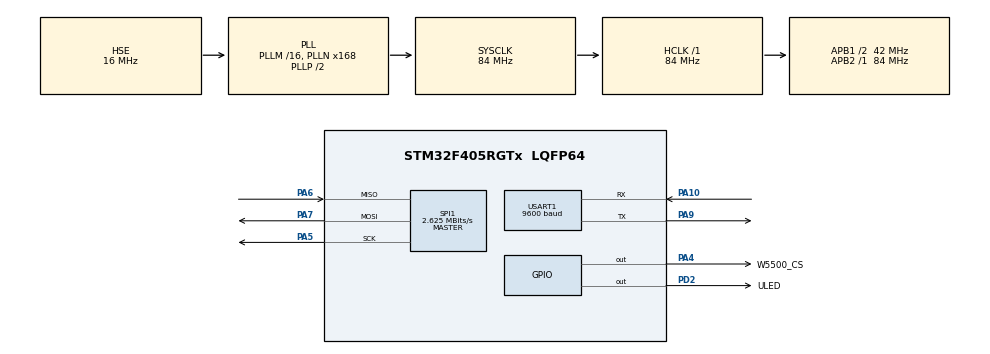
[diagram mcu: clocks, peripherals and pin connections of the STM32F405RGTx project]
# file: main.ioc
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Mcu.Family=STM32F4
Mcu.Name=STM32F405RGTx
Mcu.Package=LQFP64
NVIC.PriorityGroup=NVIC_PRIORITYGROUP_4
PA10.Mode=Asynchronous
PA10.Signal=USART1_RX
PA13.Mode=Serial_Wire
PA13.Signal=SYS_JTMS-SWDIO
PA14.Mode=Serial_Wire
PA14.Signal=SYS_JTCK-SWCLK
PA4.GPIO_Label=W5500_CS
PA4.Signal=GPIO_Output
PA5.Mode=Full_Duplex_Master
PA5.Signal=SPI1_SCK
PA6.Mode=Full_Duplex_Master
PA6.Signal=SPI1_MISO
PA7.Mode=Full_Duplex_Master
PA7.Signal=SPI1_MOSI
PA9.Mode=Asynchronous
PA9.Signal=USART1_TX
PB8.Signal=I2C1_SCL
PB9.Signal=I2C1_SDA
PC14-OSC32_IN.Mode=LSE-External-Oscillator
PC14-OSC32_IN.Signal=RCC_OSC32_IN
PC15-OSC32_OUT.Mode=LSE-External-Oscillator
PC15-OSC32_OUT.Signal=RCC_OSC32_OUT
PD2.GPIO_Label=ULED
PD2.Signal=GPIO_Output
PH0-OSC_IN.Mode=HSE-External-Oscillator
PH0-OSC_IN.Signal=RCC_OSC_IN
PH1-OSC_OUT.Mode=HSE-External-Oscillator
PH1-OSC_OUT.Signal=RCC_OSC_OUT
ProjectManager.HeapSize=0x200
ProjectManager.StackSize=0x400
ProjectManager.TargetToolchain=Makefile
RCC.48MHZClocksFreq_Value=42000000
RCC.AHBFreq_Value=84000000
RCC.APB1CLKDivider=RCC_HCLK_DIV2
RCC.APB1Freq_Value=42000000
RCC.APB1TimFreq_Value=84000000
RCC.APB2Freq_Value=84000000
RCC.APB2TimFreq_Value=84000000
RCC.CortexFreq_Value=84000000
RCC.HCLKFreq_Value=84000000
RCC.HSE_VALUE=16000000
RCC.HSI_VALUE=16000000
RCC.PLLN=168
RCC.PLLSourceVirtual=RCC_PLLSOURCE_HSE
RCC.RCC_RTC_Clock_SourceVirtual=RCC_RTCCLKSOURCE_LSE
RCC.SYSCLKFreq_VALUE=84000000
RCC.SYSCLKSource=RCC_SYSCLKSOURCE_PLLCLK
RCC.VCOOutputFreq_Value=168000000
SPI1.BaudRatePrescaler=SPI_BAUDRATEPRESCALER_32
SPI1.CalculateBaudRate=2.625 MBits/s
SPI1.Direction=SPI_DIRECTION_2LINES
SPI1.Mode=SPI_MODE_MASTER
SPI1.VirtualType=VM_MASTER
USART1.BaudRate=9600
USART1.VirtualMode=VM_ASYNC
board=main

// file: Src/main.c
#include "main.h"
#include "stm32f4xx_hal.h"

/* USER CODE BEGIN Includes */
/* vim: set ai et ts=4 sw=4: */
#include <string.h>
#include <stdarg.h>
#include <stdbool.h>
#include <ctype.h>
#include "socket.h"
#include "dhcp.h"
#include "dns.h"

/* USER CODE END Includes */

SPI_HandleTypeDef hspi1;

UART_HandleTypeDef huart1;

/* USER CODE BEGIN PV */
/* Private variables ---------------------------------------------------------*/

/* USER CODE END PV */

void SystemClock_Config(void);
static void MX_GPIO_Init(void);
static void MX_USART1_UART_Init(void);
static void MX_SPI1_Init(void);

/* USER CODE BEGIN PFP */
/* Private function prototypes -----------------------------------------------*/

/* USER CODE END PFP */

/* USER CODE BEGIN 0 */

#define DHCP_SOCKET     0
#define DNS_SOCKET      1
#define HTTP_SOCKET     2

void UART_Printf(const char* fmt, ...) {
    char buff[256];
    va_list args;
    va_start(args, fmt);
    vsnprintf(buff, sizeof(buff), fmt, args);
    HAL_UART_Transmit(&huart1, (uint8_t*)buff, strlen(buff),
                      HAL_MAX_DELAY);
    va_end(args);
}

void W5500_Select(void) {
    HAL_GPIO_WritePin(W5500_CS_GPIO_Port, W5500_CS_Pin, GPIO_PIN_RESET);
}

void W5500_Unselect(void) {
    HAL_GPIO_WritePin(W5500_CS_GPIO_Port, W5500_CS_Pin, GPIO_PIN_SET);
}

void W5500_ReadBuff(uint8_t* buff, uint16_t len) {
    HAL_SPI_Receive(&hspi1, buff, len, HAL_MAX_DELAY);
}

void W5500_WriteBuff(uint8_t* buff, uint16_t len) {
    HAL_SPI_Transmit(&hspi1, buff, len, HAL_MAX_DELAY);
}

uint8_t W5500_ReadByte(void) {
    uint8_t byte;
    W5500_ReadBuff(&byte, sizeof(byte));
    return byte;
}

void W5500_WriteByte(uint8_t byte) {
    W5500_WriteBuff(&byte, sizeof(byte));
}

volatile bool ip_assigned = false;

void Callback_IPAssigned(void) {
    UART_Printf("Callback: IP assigned! Leased time: %d sec\r\n", getDHCPLeasetime());
    ip_assigned = true;
}

void Callback_IPConflict(void) {
    UART_Printf("Callback: IP conflict!\r\n");
}

// 1K should be enough, see https://forum.wiznet.io/t/topic/1612/2
uint8_t dhcp_buffer[1024];
// 1K seems to be enough for this buffer as well
uint8_t dns_buffer[1024];

void init() {
    UART_Printf("\r\ninit() called!\r\n");

    UART_Printf("Registering W5500 callbacks...\r\n");
    reg_wizchip_cs_cbfunc(W5500_Select, W5500_Unselect);
    reg_wizchip_spi_cbfunc(W5500_ReadByte, W5500_WriteByte);
    reg_wizchip_spiburst_cbfunc(W5500_ReadBuff, W5500_WriteBuff);

    UART_Printf("Calling wizchip_init()...\r\n");
    uint8_t rx_tx_buff_sizes[] = {2, 2, 2, 2, 2, 2, 2, 2};
    wizchip_init(rx_tx_buff_sizes, rx_tx_buff_sizes);

    UART_Printf("Calling DHCP_init()...\r\n");
    wiz_NetInfo net_info = {
        .mac  = { 0xEA, 0x11, 0x22, 0x33, 0x44, 0xEA },
        .dhcp = NETINFO_DHCP
    };
    // set MAC address before using DHCP
    setSHAR(net_info.mac);
    DHCP_init(DHCP_SOCKET, dhcp_buffer);

    UART_Printf("Registering DHCP callbacks...\r\n");
    reg_dhcp_cbfunc(
        Callback_IPAssigned,
        Callback_IPAssigned,
        Callback_IPConflict
    );

    UART_Printf("Calling DHCP_run()...\r\n");
    // actually should be called in a loop, e.g. by timer
    uint32_t ctr = 10000;
    while((!ip_assigned) && (ctr > 0)) {
        DHCP_run();
        ctr--;
    }
    if(!ip_assigned) {
        UART_Printf("\r\nIP was not assigned :(\r\n");
        return;
    }

    getIPfromDHCP(net_info.ip);
    getGWfromDHCP(net_info.gw);
    getSNfromDHCP(net_info.sn);

    uint8_t dns[4];
    getDNSfromDHCP(dns);

    UART_Printf("IP:  %d.%d.%d.%d\r\nGW:  %d.%d.%d.%d\r\nNet: %d.%d.%d.%d\r\nDNS: %d.%d.%d.%d\r\n",
        net_info.ip[0], net_info.ip[1], net_info.ip[2], net_info.ip[3],
        net_info.gw[0], net_info.gw[1], net_info.gw[2], net_info.gw[3],
        net_info.sn[0], net_info.sn[1], net_info.sn[2], net_info.sn[3],
        dns[0], dns[1], dns[2], dns[3]
    );

    UART_Printf("Calling wizchip_setnetinfo()...\r\n");
    wizchip_setnetinfo(&net_info);

    UART_Printf("Calling DNS_init()...\r\n");
    DNS_init(DNS_SOCKET, dns_buffer);

    uint8_t addr[4];
    {
        char domain_name[] = "eax.me";
        UART_Printf("Resolving domain name \"%s\"...\r\n", domain_name);
        int8_t res = DNS_run(dns, (uint8_t*)&domain_name, addr);
        if(res != 1) {
            UART_Printf("DNS_run() failed, res = %d", res);
            return;
        }
        UART_Printf("Result: %d.%d.%d.%d\r\n", addr[0], addr[1], addr[2], addr[3]);
    }

    UART_Printf("Creating socket...\r\n");
    uint8_t http_socket = HTTP_SOCKET;
    uint8_t code = socket(http_socket, Sn_MR_TCP, 10888, 0);
    if(code != http_socket) {
        UART_Printf("socket() failed, code = %d\r\n", code);
        return;
    }

    UART_Printf("Socket created, connecting...\r\n");
    code = connect(http_socket, addr, 80);
    if(code != SOCK_OK) {
        UART_Printf("connect() failed, code = %d\r\n", code);
        close(http_socket);
        return;
    }

    UART_Printf("Connected, sending HTTP request...\r\n");
    {
        char req[] = "GET / HTTP/1.0\r\nHost: eax.me\r\n\r\n";
        uint16_t len = sizeof(req) - 1;
        uint8_t* buff = (uint8_t*)&req;
        while(len > 0) {
            UART_Printf("Sending %d bytes...\r\n", len);
            int32_t nbytes = send(http_socket, buff, len);
            if(nbytes <= 0) {
                UART_Printf("send() failed, %d returned\r\n", nbytes);
                close(http_socket);
                return;
            }
            UART_Printf("%d bytes sent!\r\n", nbytes);
            len -= nbytes;
        }
    }

    UART_Printf("Request sent. Reading response...\r\n");
    {
        char buff[32];
        for(;;) {
            int32_t nbytes = recv(http_socket, (uint8_t*)&buff, sizeof(buff)-1);
            if(nbytes == SOCKERR_SOCKSTATUS) {
                UART_Printf("\r\nConnection closed.\r\n");
                break;
            }

            if(nbytes <= 0) {
                UART_Printf("\r\nrecv() failed, %d returned\r\n", nbytes);
                break;
            }

            buff[nbytes] = '\0';
            UART_Printf("%s", buff);
        }
    }

    UART_Printf("Closing socket.\r\n");
    close(http_socket);
}

void loop() {
    HAL_Delay(1000);
}

/* USER CODE END 0 */

int main(void)
{

  /* MCU Configuration----------------------------------------------------------*/

  /* Reset of all peripherals, Initializes the Flash interface and the Systick. */
  HAL_Init();

  /* Configure the system clock */
  SystemClock_Config();

  /* Initialize all configured peripherals */
  MX_GPIO_Init();
  MX_USART1_UART_Init();
  MX_SPI1_Init();

  /* Infinite loop */
  /* USER CODE BEGIN WHILE */
  init();
  while (1)
  {
    loop();
  /* USER CODE END WHILE */

  }

}

/** System Clock Configuration
*/
void SystemClock_Config(void)
{

  RCC_OscInitTypeDef RCC_OscInitStruct;
  RCC_ClkInitTypeDef RCC_ClkInitStruct;

    /**Configure the main internal regulator output voltage
    */
  __HAL_RCC_PWR_CLK_ENABLE();

  __HAL_PWR_VOLTAGESCALING_CONFIG(PWR_REGULATOR_VOLTAGE_SCALE1);

    /**Initializes the CPU, AHB and APB busses clocks
    */
  RCC_OscInitStruct.OscillatorType = RCC_OSCILLATORTYPE_HSE;
  RCC_OscInitStruct.HSEState = RCC_HSE_ON;
  RCC_OscInitStruct.PLL.PLLState = RCC_PLL_ON;
  RCC_OscInitStruct.PLL.PLLSource = RCC_PLLSOURCE_HSE;
  RCC_OscInitStruct.PLL.PLLM = 16;
  RCC_OscInitStruct.PLL.PLLN = 168;
  RCC_OscInitStruct.PLL.PLLP = RCC_PLLP_DIV2;
  RCC_OscInitStruct.PLL.PLLQ = 4;
  if (HAL_RCC_OscConfig(&RCC_OscInitStruct) != HAL_OK)
  {
    _Error_Handler(__FILE__, __LINE__);
  }

    /**Initializes the CPU, AHB and APB busses clocks
    */
  RCC_ClkInitStruct.ClockType = RCC_CLOCKTYPE_HCLK|RCC_CLOCKTYPE_SYSCLK
                              |RCC_CLOCKTYPE_PCLK1|RCC_CLOCKTYPE_PCLK2;
  RCC_ClkInitStruct.SYSCLKSource = RCC_SYSCLKSOURCE_PLLCLK;
  RCC_ClkInitStruct.AHBCLKDivider = RCC_SYSCLK_DIV1;
  RCC_ClkInitStruct.APB1CLKDivider = RCC_HCLK_DIV2;
  RCC_ClkInitStruct.APB2CLKDivider = RCC_HCLK_DIV1;

  if (HAL_RCC_ClockConfig(&RCC_ClkInitStruct, FLASH_LATENCY_2) != HAL_OK)
  {
    _Error_Handler(__FILE__, __LINE__);
  }

    /**Configure the Systick interrupt time
    */
  HAL_SYSTICK_Config(HAL_RCC_GetHCLKFreq()/1000);

    /**Configure the Systick
    */
  HAL_SYSTICK_CLKSourceConfig(SYSTICK_CLKSOURCE_HCLK);

  /* SysTick_IRQn interrupt configuration */
  HAL_NVIC_SetPriority(SysTick_IRQn, 0, 0);
}

/* SPI1 init function */
static void MX_SPI1_Init(void)
{

  /* SPI1 parameter configuration*/
  hspi1.Instance = SPI1;
  hspi1.Init.Mode = SPI_MODE_MASTER;
  hspi1.Init.Direction = SPI_DIRECTION_2LINES;
  hspi1.Init.DataSize = SPI_DATASIZE_8BIT;
  hspi1.Init.CLKPolarity = SPI_POLARITY_LOW;
  hspi1.Init.CLKPhase = SPI_PHASE_1EDGE;
  hspi1.Init.NSS = SPI_NSS_SOFT;
  hspi1.Init.BaudRatePrescaler = SPI_BAUDRATEPRESCALER_32;
  hspi1.Init.FirstBit = SPI_FIRSTBIT_MSB;
  hspi1.Init.TIMode = SPI_TIMODE_DISABLE;
  hspi1.Init.CRCCalculation = SPI_CRCCALCULATION_DISABLE;
  hspi1.Init.CRCPolynomial = 10;
  if (HAL_SPI_Init(&hspi1) != HAL_OK)
  {
    _Error_Handler(__FILE__, __LINE__);
  }

}

/* USART1 init function */
static void MX_USART1_UART_Init(void)
{

  huart1.Instance = USART1;
  huart1.Init.BaudRate = 9600;
  huart1.Init.WordLength = UART_WORDLENGTH_8B;
  huart1.Init.StopBits = UART_STOPBITS_1;
  huart1.Init.Parity = UART_PARITY_NONE;
  huart1.Init.Mode = UART_MODE_TX_RX;
  huart1.Init.HwFlowCtl = UART_HWCONTROL_NONE;
  huart1.Init.OverSampling = UART_OVERSAMPLING_16;
  if (HAL_UART_Init(&huart1) != HAL_OK)
  {
    _Error_Handler(__FILE__, __LINE__);
  }

}

/** Configure pins as
        * Analog
        * Input
        * Output
        * EVENT_OUT
        * EXTI
     PB8   ------> I2C1_SCL
     PB9   ------> I2C1_SDA
*/
static void MX_GPIO_Init(void)
{

  GPIO_InitTypeDef GPIO_InitStruct;

  /* GPIO Ports Clock Enable */
  __HAL_RCC_GPIOC_CLK_ENABLE();
  __HAL_RCC_GPIOH_CLK_ENABLE();
  __HAL_RCC_GPIOA_CLK_ENABLE();
  __HAL_RCC_GPIOD_CLK_ENABLE();
  __HAL_RCC_GPIOB_CLK_ENABLE();

  /*Configure GPIO pin Output Level */
  HAL_GPIO_WritePin(W5500_CS_GPIO_Port, W5500_CS_Pin, GPIO_PIN_RESET);

  /*Configure GPIO pin Output Level */
  HAL_GPIO_WritePin(ULED_GPIO_Port, ULED_Pin, GPIO_PIN_RESET);

  /*Configure GPIO pin : W5500_CS_Pin */
  GPIO_InitStruct.Pin = W5500_CS_Pin;
  GPIO_InitStruct.Mode = GPIO_MODE_OUTPUT_PP;
  GPIO_InitStruct.Pull = GPIO_NOPULL;
  GPIO_InitStruct.Speed = GPIO_SPEED_FREQ_LOW;
  HAL_GPIO_Init(W5500_CS_GPIO_Port, &GPIO_InitStruct);

  /*Configure GPIO pin : ULED_Pin */
  GPIO_InitStruct.Pin = ULED_Pin;
  GPIO_InitStruct.Mode = GPIO_MODE_OUTPUT_PP;
  GPIO_InitStruct.Pull = GPIO_NOPULL;
  GPIO_InitStruct.Speed = GPIO_SPEED_FREQ_LOW;
  HAL_GPIO_Init(ULED_GPIO_Port, &GPIO_InitStruct);

  /*Configure GPIO pins : PB8 PB9 */
  GPIO_InitStruct.Pin = GPIO_PIN_8|GPIO_PIN_9;
  GPIO_InitStruct.Mode = GPIO_MODE_AF_OD;
  GPIO_InitStruct.Pull = GPIO_PULLUP;
  GPIO_InitStruct.Speed = GPIO_SPEED_FREQ_VERY_HIGH;
  GPIO_InitStruct.Alternate = GPIO_AF4_I2C1;
  HAL_GPIO_Init(GPIOB, &GPIO_InitStruct);

}

void _Error_Handler(char * file, int line)
{
  while(1)
  {
  }
}

/************************ (C) COPYRIGHT STMicroelectronics *****END OF FILE****/
